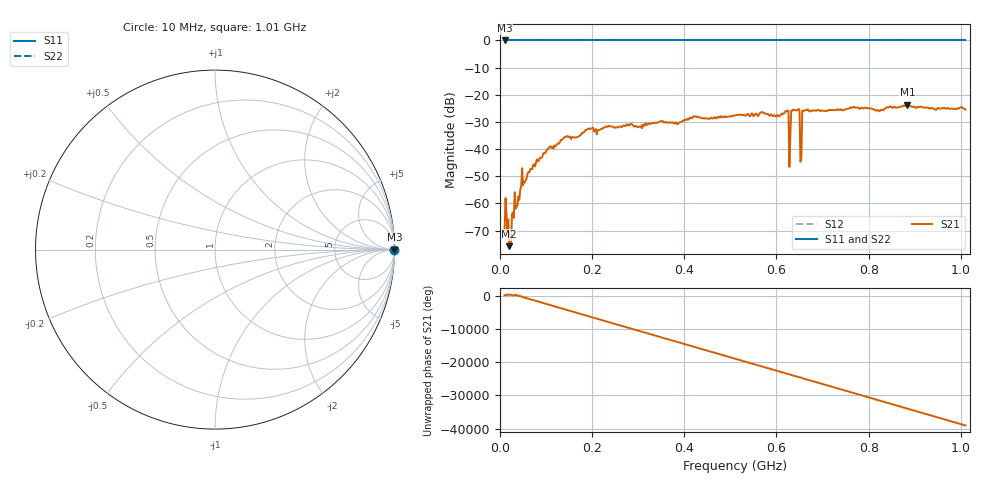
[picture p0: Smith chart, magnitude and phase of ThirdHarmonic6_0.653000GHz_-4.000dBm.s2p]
! 8/15/2025 9:39:48 PM
! C:\ANRITSUVNA\TEMP\TEMP.S2P
! CHANNEL.1
! TR.MEASUREMENT
! RAW.DATA
! RF.CORRECTION.OFF
! AVERAGING.OFF
! IF.BANDWIDTH: 5KHZ
! SWEEPTYPE:  FREQ.SWEEP(Linear)
! Reference Plane Port Info
! PORT:  PORT1  PORT2
! DISTANCE:  0  m  0  m
! TIME:  0  s  0  s
! PHASE.OFFSET:  0  deg.  0  deg.
! LOSS:  0  dB  0  dB
! REF.LOSS:  0  dB  0  dB
! REF.FREQ:  0  Hz  0  Hz
! Power Info
! POWER:  -20  dBm  -20  dBm
! EFF.POWER:  -20  dBm  -20  dBm
! SOURCE.ATTEN:  0  dB  0  dB
! TEST.ATTEN:  0  dB  0  dB
# GHZ S RI R 50.0
! FREQ.GHZ  S11RE  S11IM  S21RE  S21IM  S12RE  S12IM  S22RE  S22IM
!; PortSelection: Port_12
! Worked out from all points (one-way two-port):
!   501 points, 10 MHz to 1.01 GHz, reference 50 ohm
!   highest |S21| = -23.63 dB at 884 MHz (marker M1); lowest = -75.8 dB at 20 MHz (marker M2)
!   lowest |S11| = 0.0 dB at 10 MHz (marker M3)
!   |S11| at or under -10 dB: nowhere
!   |S22| runs from 0.0 to 0.0 dB; largest |S21 - S12| = 1.1
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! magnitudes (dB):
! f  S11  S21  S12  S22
! 10 MHz  0.0  -69.5  0.0  0.0
! 14 MHz  0.0  -63.4  0.0  0.0
! 20 MHz  0.0  -75.8  0.0  0.0
! 30 MHz  0.0  -65.4  0.0  0.0
! 44 MHz  0.0  -55.0  0.0  0.0
! 64 MHz  0.0  -48.4  0.0  0.0
! 106 MHz  0.0  -39.4  0.0  0.0
! 178 MHz  0.0  -34.0  0.0  0.0
! 344 MHz  0.0  -30.1  0.0  0.0
! 510 MHz  0.0  -27.6  0.0  0.0
! 622 MHz  0.0  -26.2  0.0  0.0
! 626 MHz  0.0  -26.0  0.0  0.0
! 630 MHz  0.0  -35.5  0.0  0.0
! 636 MHz  0.0  -25.4  0.0  0.0
! 646 MHz  0.0  -25.6  0.0  0.0
! 650 MHz  0.0  -25.9  0.0  0.0
! 656 MHz  0.0  -25.8  0.0  0.0
! 660 MHz  0.0  -25.9  0.0  0.0
! 678 MHz  0.0  -25.8  0.0  0.0
! 844 MHz  0.0  -24.6  0.0  0.0
! 884 MHz  0.0  -23.6  0.0  0.0
! 1.01 GHz  0.0  -25.5  0.0  0.0
